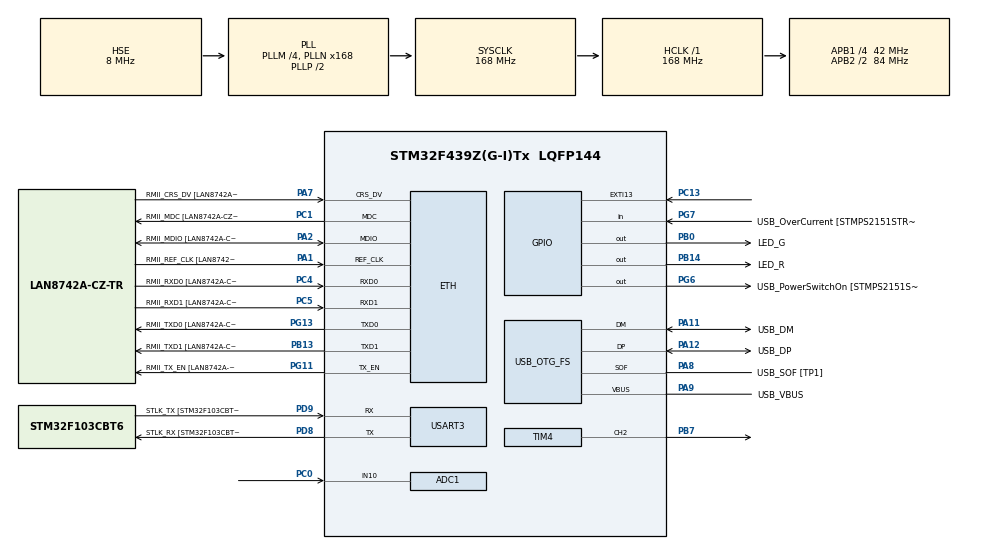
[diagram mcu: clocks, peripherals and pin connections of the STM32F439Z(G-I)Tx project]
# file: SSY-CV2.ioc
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ADC1.Channel-0\#ChannelRegularConversion=ADC_CHANNEL_10
ADC1.EnableAnalogWatchDog=false
ADC1.NbrOfConversionFlag=1
ADC1.Rank-0\#ChannelRegularConversion=1
ADC1.SamplingTime-0\#ChannelRegularConversion=ADC_SAMPLETIME_3CYCLES
ADC1.master=1
ETH.MediaInterface=HAL_ETH_RMII_MODE
ETH.PHY_Name=LAN8742A_PHY_ADDRESS
ETH.PHY_Value=0
ETH.PhyAddress=0
Mcu.Family=STM32F4
Mcu.Name=STM32F439Z(G-I)Tx
Mcu.Package=LQFP144
NVIC.ADC_IRQn=true\:0\:0\:false\:false\:true\:true\:true\:true
NVIC.EXTI15_10_IRQn=true\:0\:0\:false\:false\:true\:true\:true\:true
NVIC.PriorityGroup=NVIC_PRIORITYGROUP_4
NVIC.TIM4_IRQn=true\:0\:0\:false\:false\:true\:true\:true\:true
NVIC.TIM6_DAC_IRQn=true\:0\:0\:false\:false\:true\:true\:true\:true
NVIC.USART3_IRQn=true\:0\:0\:false\:false\:true\:true\:true\:true
PA1.GPIO_Label=RMII_REF_CLK [LAN8742A-CZ-TR_REFCLK0]
PA1.Mode=RMII
PA1.Signal=ETH_REF_CLK
PA10.GPIO_Label=USB_ID
PA10.Signal=USB_OTG_FS_ID
PA11.GPIO_Label=USB_DM
PA11.Mode=Device_Only
PA11.Signal=USB_OTG_FS_DM
PA12.GPIO_Label=USB_DP
PA12.Mode=Device_Only
PA12.Signal=USB_OTG_FS_DP
PA13.GPIO_Label=TMS
PA13.Mode=Serial_Wire
PA13.Signal=SYS_JTMS-SWDIO
PA14.GPIO_Label=TCK
PA14.Mode=Serial_Wire
PA14.Signal=SYS_JTCK-SWCLK
PA2.GPIO_Label=RMII_MDIO [LAN8742A-CZ-TR_MDIO]
PA2.Mode=RMII
PA2.Signal=ETH_MDIO
PA7.GPIO_Label=RMII_CRS_DV [LAN8742A-CZ-TR_CRS_DV]
PA7.Mode=RMII
PA7.Signal=ETH_CRS_DV
PA8.GPIO_Label=USB_SOF [TP1]
PA8.Mode=Activate_SOF_FS
PA8.Signal=USB_OTG_FS_SOF
PA9.GPIO_Label=USB_VBUS
PA9.Mode=Activate_VBUS
PA9.Signal=USB_OTG_FS_VBUS
PB0.GPIO_Label=LED_G
PB0.Signal=GPIO_Output
PB13.GPIO_Label=RMII_TXD1 [LAN8742A-CZ-TR_TXD1]
PB13.Mode=RMII
PB13.Signal=ETH_TXD1
PB14.GPIO_Label=LED_R
PB14.Signal=GPIO_Output
PB7.Signal=S_TIM4_CH2
PC0.Signal=ADCx_IN10
PC1.GPIO_Label=RMII_MDC [LAN8742A-CZ-TR_MDC]
PC1.Mode=RMII
PC1.Signal=ETH_MDC
PC13.Signal=GPXTI13
PC14/OSC32_IN.Mode=LSE-External-Oscillator
PC14/OSC32_IN.Signal=RCC_OSC32_IN
PC15/OSC32_OUT.Mode=LSE-External-Oscillator
PC15/OSC32_OUT.Signal=RCC_OSC32_OUT
PC4.GPIO_Label=RMII_RXD0 [LAN8742A-CZ-TR_RXD0]
PC4.Mode=RMII
PC4.Signal=ETH_RXD0
PC5.GPIO_Label=RMII_RXD1 [LAN8742A-CZ-TR_RXD1]
PC5.Mode=RMII
PC5.Signal=ETH_RXD1
PD8.GPIO_Label=STLK_RX [STM32F103CBT6_PA3]
PD8.Mode=Asynchronous
PD8.Signal=USART3_TX
PD9.GPIO_Label=STLK_TX [STM32F103CBT6_PA2]
PD9.Mode=Asynchronous
PD9.Signal=USART3_RX
PG11.GPIO_Label=RMII_TX_EN [LAN8742A-CZ-TR_TXEN]
PG11.Mode=RMII
PG11.Signal=ETH_TX_EN
PG13.GPIO_Label=RMII_TXD0 [LAN8742A-CZ-TR_TXD0]
PG13.Mode=RMII
PG13.Signal=ETH_TXD0
PG6.GPIO_Label=USB_PowerSwitchOn [STMPS2151STR_EN]
PG6.Signal=GPIO_Output
PG7.GPIO_Label=USB_OverCurrent [STMPS2151STR_FAULT]
PG7.Signal=GPIO_Input
PH0/OSC_IN.GPIO_Label=MCO [STM32F103CBT6_PA8]
PH0/OSC_IN.Mode=HSE-External-Clock-Source
PH0/OSC_IN.Signal=RCC_OSC_IN
PH1/OSC_OUT.Mode=HSE-External-Clock-Source
PH1/OSC_OUT.Signal=RCC_OSC_OUT
ProjectManager.HeapSize=0x200
ProjectManager.StackSize=0x400
ProjectManager.TargetToolchain=STM32CubeIDE
RCC.48MHZClocksFreq_Value=48000000
RCC.AHBFreq_Value=168000000
RCC.APB1CLKDivider=RCC_HCLK_DIV4
RCC.APB1Freq_Value=42000000
RCC.APB1TimFreq_Value=84000000
RCC.APB2CLKDivider=RCC_HCLK_DIV2
RCC.APB2Freq_Value=84000000
RCC.APB2TimCLKDivider=2
RCC.APB2TimFreq_Value=168000000
RCC.CortexFreq_Value=168000000
RCC.HCLKFreq_Value=168000000
RCC.HSE_VALUE=8000000
RCC.HSI_VALUE=16000000
RCC.PLLM=4
RCC.PLLMUL=RCC_PLL_MUL9
RCC.PLLN=168
RCC.PLLQ=7
RCC.PRESCALERUSB=RCC_USBCLKSOURCE_PLL_DIV1_5
RCC.SYSCLKFreq_VALUE=168000000
RCC.SYSCLKSource=RCC_SYSCLKSOURCE_PLLCLK
RCC.SYSCLKSourceVirtual=RCC_SYSCLKSOURCE_PLLCLK
RCC.USBFreq_Value=48000000
RCC.VCOOutputFreq_Value=336000000
SH.ADCx_IN10.0=ADC1_IN10,IN10
SH.S_TIM4_CH2.0=TIM4_CH2,PWM Generation2 CH2
TIM4.Channel-PWM\ Generation2\ CH2=TIM_CHANNEL_2
TIM4.Period=60000
TIM4.Prescaler=42000
TIM4.Pulse-PWM\ Generation2\ CH2=200
TIM6.Period=10000
TIM6.Prescaler=8400
USART3.VirtualMode=VM_ASYNC
USB_OTG_FS.VirtualMode=Device_Only
VP_TIM4_VS_ClockSourceINT.Mode=Internal
VP_TIM6_VS_ClockSourceINT.Mode=Enable_Timer
board=NUCLEO-F439ZI

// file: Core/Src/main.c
/* USER CODE BEGIN Header */
/**
  ******************************************************************************
  * @file           : main.c
  * @brief          : Main program body
  ******************************************************************************
  * @attention
  *
  * Copyright (c) 2026 STMicroelectronics.
  * All rights reserved.
  *
  * This software is licensed under terms that can be found in the LICENSE file
  * in the root directory of this software component.
  * If no LICENSE file comes with this software, it is provided AS-IS.
  *
  ******************************************************************************
  */
/* USER CODE END Header */
#include "main.h"
#include "adc.h"
#include "eth.h"
#include "tim.h"
#include "usart.h"
#include "usb_otg.h"
#include "gpio.h"

void SystemClock_Config(void);

int main(void)
{

  /* MCU Configuration--------------------------------------------------------*/

  /* Reset of all peripherals, Initializes the Flash interface and the Systick. */
  HAL_Init();

  /* Configure the system clock */
  SystemClock_Config();

  /* Initialize all configured peripherals */
  MX_GPIO_Init();
  MX_ETH_Init();
  MX_USART3_UART_Init();
  MX_USB_OTG_FS_PCD_Init();
  MX_TIM6_Init();
  MX_TIM4_Init();
  MX_ADC1_Init();
  /* USER CODE BEGIN 2 */

  /* CV2 */
 // LED_init();
 // for(int i=0;i<3;i++){
//	    LED_ON();
//	    HAL_Delay(500);
//	    LED_OFF();
//	    HAL_Delay(500);
 // }
  //BTN_init();

  /* CV3 */
  cv3_init();
  //UART_StartRxIT();
  CLI_UART_Init();

  /* CV4 */
  HAL_TIM_Base_Start_IT(&htim6);
  HAL_TIM_PWM_Start(&htim4,TIM_CHANNEL_2);

  HAL_ADC_Start_IT(&hadc1);

  /* USER CODE END 2 */

  /* Infinite loop */
  /* USER CODE BEGIN WHILE */
  while (1)
  {

	  //BTN_function();

	  //cv3_polling();

	  CLI_UART_Process();

	  if (adc_ready)
	  {
	      adc_ready = 0;
	      UART_PrintNumber(adc_value);
	  }

    /* USER CODE END WHILE */

  }
}

void SystemClock_Config(void)
{
  RCC_OscInitTypeDef RCC_OscInitStruct = {0};
  RCC_ClkInitTypeDef RCC_ClkInitStruct = {0};

  /** Configure the main internal regulator output voltage
  */
  __HAL_RCC_PWR_CLK_ENABLE();
  __HAL_PWR_VOLTAGESCALING_CONFIG(PWR_REGULATOR_VOLTAGE_SCALE1);

  /** Initializes the RCC Oscillators according to the specified parameters
  * in the RCC_OscInitTypeDef structure.
  */
  RCC_OscInitStruct.OscillatorType = RCC_OSCILLATORTYPE_HSE;
  RCC_OscInitStruct.HSEState = RCC_HSE_BYPASS;
  RCC_OscInitStruct.PLL.PLLState = RCC_PLL_ON;
  RCC_OscInitStruct.PLL.PLLSource = RCC_PLLSOURCE_HSE;
  RCC_OscInitStruct.PLL.PLLM = 4;
  RCC_OscInitStruct.PLL.PLLN = 168;
  RCC_OscInitStruct.PLL.PLLP = RCC_PLLP_DIV2;
  RCC_OscInitStruct.PLL.PLLQ = 7;
  if (HAL_RCC_OscConfig(&RCC_OscInitStruct) != HAL_OK)
  {
    Error_Handler();
  }

  /** Initializes the CPU, AHB and APB buses clocks
  */
  RCC_ClkInitStruct.ClockType = RCC_CLOCKTYPE_HCLK|RCC_CLOCKTYPE_SYSCLK
                              |RCC_CLOCKTYPE_PCLK1|RCC_CLOCKTYPE_PCLK2;
  RCC_ClkInitStruct.SYSCLKSource = RCC_SYSCLKSOURCE_PLLCLK;
  RCC_ClkInitStruct.AHBCLKDivider = RCC_SYSCLK_DIV1;
  RCC_ClkInitStruct.APB1CLKDivider = RCC_HCLK_DIV4;
  RCC_ClkInitStruct.APB2CLKDivider = RCC_HCLK_DIV2;

  if (HAL_RCC_ClockConfig(&RCC_ClkInitStruct, FLASH_LATENCY_5) != HAL_OK)
  {
    Error_Handler();
  }
}

/* USER CODE BEGIN 4 */

/* CV2 */
/*
void HAL_GPIO_EXTI_Callback (uint16_t GPIO_Pin){
	if (GPIO_Pin == GPIO_PIN_13){
		HAL_GPIO_TogglePin (GPIOB, GPIO_PIN_0);
		LED_ON();
	}
}
*/

/* CV3 */
/*
void HAL_UART_RxCpltCallback (UART_HandleTypeDef *huart){
	if(huart->Instance == USART3){
		transmit_receive();
	}
}
*/

/* CV4 */
/*
void HAL_TIM_PeriodElapsedCallback (TIM_HandleTypeDef * htim ){
	if (htim->Instance == TIM6){
		//TOGGLE_LED();
		HAL_GPIO_TogglePin(LED_R_GPIO_Port, LED_R_Pin);
	}
}
*/

/* CV4 */
/*
void HAL_TIM_PeriodElapsedCallback (TIM_HandleTypeDef * htim ){
	if (htim->Instance == TIM6){
		//TOGGLE_LED();

		uint32_t hodnota=0;

		hodnota=ADC_Read_OneShot();

		if(hodnota > 1000){
			HAL_GPIO_TogglePin(LED_G_GPIO_Port, LED_G_Pin);
		}
		else{

		}

	}
}
*/

void StartMeasurement_IT (void){
	adc_ready = 0 ;
	HAL_ADC_Start_IT(&hadc1);
}

void HAL_ADC_ConvCpltCallback (ADC_HandleTypeDef *hadc){
	if (hadc->Instance == ADC1){
		adc_value = HAL_ADC_GetValue(hadc) ;
		adc_ready = 1 ;
	}
}

/* USER CODE END 4 */

void Error_Handler(void)
{
  __disable_irq();
  while (1)
  {
  }
}
